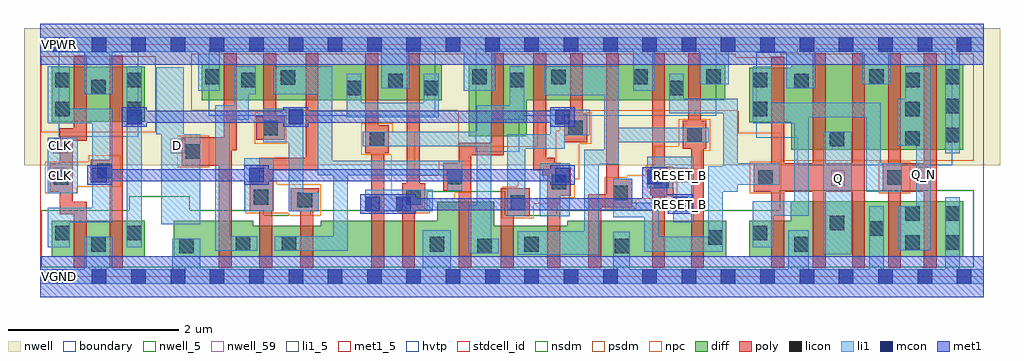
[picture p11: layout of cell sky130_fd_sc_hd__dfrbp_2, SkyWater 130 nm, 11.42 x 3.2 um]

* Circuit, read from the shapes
.subckt sky130_fd_sc_hd__dfrbp_2 CLK D Q Q_N RESET_B VGND VNB VPB VPWR
XM1 VGND CLK n1 VNB sky130_fd_pr__nfet_01v8 w=0.42 l=0.15
XM2 n2 n1 VGND VNB sky130_fd_pr__nfet_01v8 w=0.42 l=0.15
XM3 n3 D VGND VNB sky130_fd_pr__nfet_01v8 w=0.42 l=0.15
XM4 n4 n1 n3 VNB sky130_fd_pr__nfet_01v8 w=0.36 l=0.15
XM5 n5 n2 n4 VNB sky130_fd_pr__nfet_01v8 w=0.36 l=0.15
XM6 n6 n7 n5 VNB sky130_fd_pr__nfet_01v8 w=0.42 l=0.15
XM7 VGND RESET_B n6 VNB sky130_fd_pr__nfet_01v8 w=0.42 l=0.15
XM8 n7 n4 VGND VNB sky130_fd_pr__nfet_01v8 w=0.64 l=0.15
XM9 n8 n2 n7 VNB sky130_fd_pr__nfet_01v8 w=0.36 l=0.15
XM10 n9 n1 n8 VNB sky130_fd_pr__nfet_01v8 w=0.36 l=0.15
XM11 VGND n10 n9 VNB sky130_fd_pr__nfet_01v8 w=0.42 l=0.15
XM12 n11 RESET_B VGND VNB sky130_fd_pr__nfet_01v8 w=0.42 l=0.15
XM13 n10 n8 n11 VNB sky130_fd_pr__nfet_01v8 w=0.42 l=0.15
XM14 VGND n10 n12 VNB sky130_fd_pr__nfet_01v8 w=0.42 l=0.15
XM15 Q n10 VGND VNB sky130_fd_pr__nfet_01v8 w=0.65 l=0.15 m=2
XM16 Q_N n12 VGND VNB sky130_fd_pr__nfet_01v8 w=0.65 l=0.15 m=2
XM17 VPWR CLK n1 VPB sky130_fd_pr__pfet_01v8_hvt w=0.64 l=0.15
XM18 n2 n1 VPWR VPB sky130_fd_pr__pfet_01v8_hvt w=0.64 l=0.15
XM19 n3 D VPWR VPB sky130_fd_pr__pfet_01v8_hvt w=0.42 l=0.15
XM20 n4 n2 n3 VPB sky130_fd_pr__pfet_01v8_hvt w=0.42 l=0.15
XM21 n13 n1 n4 VPB sky130_fd_pr__pfet_01v8_hvt w=0.42 l=0.15
XM22 VPWR n7 n13 VPB sky130_fd_pr__pfet_01v8_hvt w=0.42 l=0.15
XM23 n13 RESET_B VPWR VPB sky130_fd_pr__pfet_01v8_hvt w=0.42 l=0.15
XM24 n7 n4 VPWR VPB sky130_fd_pr__pfet_01v8_hvt w=0.84 l=0.15
XM25 n8 n1 n7 VPB sky130_fd_pr__pfet_01v8_hvt w=0.42 l=0.15
XM26 n14 n2 n8 VPB sky130_fd_pr__pfet_01v8_hvt w=0.42 l=0.15
XM27 VPWR n10 n14 VPB sky130_fd_pr__pfet_01v8_hvt w=0.42 l=0.15
XM28 n10 RESET_B VPWR VPB sky130_fd_pr__pfet_01v8_hvt w=0.42 l=0.15
XM29 VPWR n8 n10 VPB sky130_fd_pr__pfet_01v8_hvt w=0.42 l=0.15
XM30 VPWR n10 n12 VPB sky130_fd_pr__pfet_01v8_hvt w=0.64 l=0.15
XM31 Q n10 VPWR VPB sky130_fd_pr__pfet_01v8_hvt w=1 l=0.15 m=2
XM32 Q_N n12 VPWR VPB sky130_fd_pr__pfet_01v8_hvt w=1 l=0.15 m=2
.ends

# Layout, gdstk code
import gdstk
lib = gdstk.Library(unit=1e-6, precision=1e-09)
def R(c, l, rs):  # rectangles x0, y0, x1, y1
    for r in rs: c.add(gdstk.rectangle(r[:2], r[2:], *l))
def A(c, l, x, y, w, h, nx, ny, dx, dy):  # array of equal rectangles
    R(c, l, [(x+i*dx, y+j*dy, x+i*dx+w, y+j*dy+h) for i in range(nx) for j in range(ny)])
nwell_5 = (64, 5)
nwell = (64, 20)
nwell_59 = (64, 59)
diff = (65, 20)
poly = (66, 20)
licon = (66, 44)
li1_5 = (67, 5)
li1 = (67, 20)
mcon = (67, 44)
met1_5 = (68, 5)
met1 = (68, 20)
hvtp = (78, 44)
stdcell_id = (81, 4)
nsdm = (93, 44)
psdm = (94, 20)
npc = (95, 20)
boundary = (235, 4)

sky130_fd_sc_hd__dfrbp_2 = lib.new_cell('sky130_fd_sc_hd__dfrbp_2')
R(sky130_fd_sc_hd__dfrbp_2, nwell_5, [(0.145,2.635,0.315,2.805)])
R(sky130_fd_sc_hd__dfrbp_2, nwell, [(-0.19,1.305,11.23,2.91)])
R(sky130_fd_sc_hd__dfrbp_2, nwell_59, [(0.145,-0.085,0.315,0.085)])
R(sky130_fd_sc_hd__dfrbp_2, diff, [(0.135,0.235,1.225,0.655), (1.565,0.235,8.025,0.595), (8.295,0.235,10.8,0.655), (1.565,0.595,2.49,0.655), (3.285,0.595,5.315,0.655), (6.165,0.595,8.025,0.655), (4.645,0.655,5.315,0.875), (8.78,0.655,10.8,0.885), (8.79,1.485,10.8,1.805), (5.015,1.645,5.695,2.065), (8.295,1.805,10.8,2.445), (0.135,1.815,1.225,2.455), (1.89,2.065,4.7,2.485), (5.015,2.065,8.015,2.485), (8.79,2.445,10.8,2.485)])
A(sky130_fd_sc_hd__dfrbp_2, poly, 9.5, 0.105, 0.15, 0.89, 3, 1, 0.42, 0)
A(sky130_fd_sc_hd__dfrbp_2, poly, 9.5, 1.325, 0.15, 1.29, 3, 1, 0.42, 0)
R(sky130_fd_sc_hd__dfrbp_2, poly, [(0.395,0.105,0.545,0.73), (0.815,0.105,0.965,1.1), (2.09,0.105,2.24,1.3), (2.565,0.105,2.715,0.765), (3.045,0.105,3.195,0.765), (3.875,0.105,4.025,1.445), (4.235,0.105,4.385,0.765), (4.895,0.105,5.045,1.005), (5.39,0.105,5.54,0.705), (5.935,0.105,6.085,0.945), (6.415,0.105,6.565,0.815), (7.16,0.105,7.31,0.955), (7.615,0.105,7.765,1.495), (8.555,0.105,8.705,0.995), (9.04,0.105,9.19,0.995), (5.39,0.705,5.725,1.035), (0.23,0.73,0.545,0.88), (2.45,0.765,2.72,1.095), (2.93,0.765,3.26,1.035), (4.235,0.765,4.505,1.095), (6.415,0.815,6.925,0.965), (0.23,0.88,0.38,0.995), (5.935,0.945,6.205,1.185), (7.135,0.955,7.405,1.285), (6.62,0.965,6.925,1.145), (0.11,0.995,0.38,1.325), (8.35,0.995,9.65,1.325), (9.86,0.995,10.49,1.325), (4.715,1.005,5.045,1.335), (2.565,1.095,2.72,1.245), (4.29,1.095,4.44,2.615), (0.59,1.1,0.965,1.37), (6.62,1.145,6.77,2.615), (5.875,1.185,6.205,1.245), (2.565,1.245,3.255,1.395), (5.77,1.245,6.205,1.275), (5.77,1.275,6.085,1.335), (7.16,1.285,7.31,2.615), (1.655,1.3,2.24,1.48), (0.23,1.325,0.38,1.59), (8.555,1.325,8.705,2.575), (9.04,1.325,9.19,2.615), (4.895,1.335,5.045,1.42), (5.77,1.335,6.02,1.395), (0.815,1.37,0.965,2.585), (3.105,1.395,3.255,2.615), (5.77,1.395,5.92,2.615), (4.895,1.42,5.425,1.57), (3.805,1.445,4.08,1.775), (1.655,1.48,2.3,1.63), (7.52,1.495,7.79,1.825), (5.275,1.57,5.425,2.615), (6.13,1.575,6.4,1.905), (0.23,1.59,0.545,1.74), (2.53,1.605,2.86,1.875), (2.15,1.63,2.3,2.615), (0.395,1.74,0.545,2.585), (3.805,1.775,3.955,2.615), (7.58,1.825,7.73,2.615), (2.61,1.875,2.76,2.615), (6.2,1.905,6.35,2.615)])
A(sky130_fd_sc_hd__dfrbp_2, licon, 10.12, 1.535, 0.17, 0.17, 1, 3, 0, 0.34)
A(sky130_fd_sc_hd__dfrbp_2, licon, 10.59, 1.575, 0.17, 0.17, 1, 3, 0, 0.34)
R(sky130_fd_sc_hd__dfrbp_2, licon, [(1.625,0.275,1.795,0.445), (5.115,0.275,5.285,0.445), (6.725,0.275,6.895,0.445), (0.595,0.295,0.765,0.465), (4.555,0.295,4.725,0.465), (5.665,0.295,5.835,0.465), (8.82,0.295,8.99,0.465), (2.29,0.305,2.46,0.475), (2.825,0.305,2.995,0.475), (10.12,0.315,10.29,0.485), (10.59,0.315,10.76,0.485), (7.815,0.375,7.985,0.545), (0.175,0.425,0.345,0.595), (1.015,0.425,1.185,0.595), (8.335,0.425,8.505,0.595), (9.7,0.48,9.87,0.65), (9.24,0.545,9.41,0.715), (10.12,0.655,10.29,0.825), (10.59,0.655,10.76,0.825), (5.505,0.785,5.675,0.955), (3.01,0.815,3.18,0.985), (2.5,0.845,2.67,1.015), (4.285,0.845,4.455,1.015), (6.705,0.895,6.875,1.065), (5.985,1.025,6.155,1.195), (7.185,1.035,7.355,1.205), (0.16,1.075,0.33,1.245), (8.4,1.075,8.57,1.245), (9.91,1.075,10.08,1.245), (4.765,1.085,4.935,1.255), (0.67,1.15,0.84,1.32), (1.705,1.38,1.875,1.55), (3.855,1.525,4.025,1.695), (9.24,1.525,9.41,1.695), (7.57,1.575,7.74,1.745), (2.61,1.655,2.78,1.825), (6.18,1.655,6.35,1.825), (0.175,1.875,0.345,2.045), (1.015,1.875,1.185,2.045), (8.335,1.875,8.505,2.045), (3.585,2.125,3.755,2.295), (4.49,2.125,4.66,2.295), (7.36,2.125,7.53,2.295), (0.595,2.135,0.765,2.305), (4.07,2.205,4.24,2.375), (8.82,2.205,8.99,2.375), (0.175,2.215,0.345,2.385), (1.015,2.215,1.185,2.385), (2.35,2.215,2.52,2.385), (5.495,2.215,5.665,2.385), (8.335,2.215,8.505,2.385), (2.815,2.245,2.985,2.415), (5.98,2.25,6.15,2.42), (1.93,2.255,2.1,2.425), (5.055,2.255,5.225,2.425), (6.94,2.255,7.11,2.425), (7.79,2.255,7.96,2.425), (9.7,2.255,9.87,2.425)])
R(sky130_fd_sc_hd__dfrbp_2, li1_5, [(7.405,0.765,7.575,0.935), (9.255,1.065,9.415,1.245), (0.15,1.105,0.32,1.275), (7.405,1.105,7.575,1.275), (10.275,1.11,10.39,1.285), (0.15,1.445,0.32,1.615), (1.525,1.445,1.695,1.615)])
R(sky130_fd_sc_hd__dfrbp_2, li1, [(0,-0.085,11.04,0.085), (0.515,0.085,0.845,0.465), (1.545,0.085,1.875,0.445), (4.475,0.085,4.805,0.545), (6.705,0.085,6.895,0.525), (8.755,0.085,8.99,0.545), (9.7,0.085,9.87,0.825), (10.59,0.085,10.76,0.93), (5.585,0.255,6.535,0.535), (9.16,0.265,9.495,1.695), (5.015,0.275,5.365,0.445), (7.065,0.295,7.985,0.465), (2.045,0.305,2.54,0.475), (2.745,0.305,3.6,0.475), (10.04,0.31,10.42,0.825), (0.09,0.345,0.345,0.635), (1.015,0.345,1.185,2.465), (8.335,0.345,8.585,0.715), (5.015,0.445,5.275,0.835), (7.065,0.465,7.235,0.695), (7.815,0.465,7.985,0.995), (2.045,0.475,2.215,1.835), (3.43,0.475,3.6,1.185), (6.365,0.535,6.535,1.315), (1.415,0.615,1.875,1.665), (0.09,0.635,0.84,0.805), (7.405,0.635,7.645,1.035), (6.705,0.695,7.235,0.865), (5.465,0.705,5.675,1.495), (5.845,0.705,6.195,1.325), (8.335,0.715,8.99,0.885), (2.385,0.765,2.735,1.385), (2.905,0.765,3.26,0.985), (3.805,0.765,4.595,1.015), (0.61,0.805,0.84,1.795), (10.25,0.825,10.42,1.535), (5.105,0.835,5.275,1.525), (6.705,0.865,6.925,1.145), (8.82,0.885,8.99,1.795), (0.09,0.975,0.44,1.625), (2.905,0.985,3.075,1.575), (7.815,0.995,8.16,1.075), (9.665,0.995,10.08,1.325), (4.765,1.005,4.935,1.185), (7.105,1.035,7.645,1.405), (7.815,1.075,8.65,1.295), (3.245,1.185,4.935,1.355), (7.99,1.295,8.65,1.325), (6.365,1.315,6.77,1.485), (7.99,1.325,8.16,1.915), (9.665,1.325,9.835,1.865), (3.245,1.355,3.415,2.135), (10.59,1.445,10.76,2.635), (6.6,1.485,6.77,1.575), (5.465,1.495,6.14,1.655), (3.775,1.525,5.275,1.695), (10.03,1.535,10.42,2.08), (2.61,1.575,3.075,1.965), (6.6,1.575,7.82,1.745), (5.465,1.655,6.43,1.665), (1.355,1.665,1.68,2.45), (5.97,1.665,6.43,1.955), (5.105,1.695,5.275,1.835), (6.6,1.745,6.77,2.125), (0.09,1.795,0.84,1.965), (8.335,1.795,8.99,1.865), (2.045,1.835,2.44,2.005), (5.105,1.835,5.665,2.005), (3.585,1.865,4.66,2.035), (8.335,1.865,9.835,2.035), (7.36,1.915,8.16,2.085), (0.09,1.965,0.345,2.465), (2.27,2.005,2.44,2.135), (5.495,2.005,5.665,2.465), (3.585,2.035,3.755,2.375), (4.49,2.035,4.66,2.375), (8.335,2.035,8.56,2.465), (10.12,2.08,10.42,2.465), (7.36,2.085,7.53,2.375), (5.9,2.125,6.77,2.465), (0.515,2.135,0.845,2.635), (2.27,2.135,2.52,2.465), (2.735,2.135,3.415,2.465), (1.85,2.175,2.1,2.635), (4.955,2.175,5.325,2.635), (6.94,2.175,7.19,2.635), (3.99,2.205,4.32,2.635), (8.73,2.205,9.07,2.635), (7.71,2.255,8.055,2.635), (9.62,2.255,9.95,2.635), (0,2.635,11.04,2.805)])
A(sky130_fd_sc_hd__dfrbp_2, mcon, 0.145, -0.085, 0.17, 0.17, 24, 2, 0.46, 2.72)
R(sky130_fd_sc_hd__dfrbp_2, mcon, [(3.805,0.765,3.975,0.935), (4.165,0.765,4.335,0.935), (7.405,0.765,7.575,0.935), (7.105,1.08,7.275,1.25), (0.61,1.105,0.78,1.275), (2.445,1.105,2.615,1.275), (6.025,1.105,6.195,1.275), (1.015,1.785,1.185,1.955), (2.905,1.785,3.075,1.955), (6.025,1.785,6.195,1.955)])
R(sky130_fd_sc_hd__dfrbp_2, met1_5, [(0.145,-0.085,0.315,0.085), (0.145,2.635,0.315,2.805)])
R(sky130_fd_sc_hd__dfrbp_2, met1, [(0,-0.24,11.04,0.24), (3.745,0.735,4.395,0.78), (7.345,0.735,7.635,0.78), (3.745,0.78,7.635,0.92), (3.745,0.92,4.395,0.965), (7.045,0.92,7.635,0.965), (7.045,0.965,7.335,1.28), (0.55,1.075,0.84,1.12), (2.385,1.075,2.675,1.12), (5.965,1.075,6.255,1.12), (0.55,1.12,6.255,1.26), (0.55,1.26,0.84,1.305), (2.385,1.26,2.675,1.305), (5.965,1.26,6.255,1.305), (0.955,1.755,1.245,1.8), (2.845,1.755,3.135,1.8), (5.965,1.755,6.255,1.8), (0.955,1.8,6.255,1.94), (0.955,1.94,1.245,1.985), (2.845,1.94,3.135,1.985), (5.965,1.94,6.255,1.985), (0,2.48,11.04,2.96)])
R(sky130_fd_sc_hd__dfrbp_2, hvtp, [(8.86,1.305,10.67,1.625), (5.095,1.465,5.605,1.885), (8.375,1.625,10.67,2.625), (0.215,1.635,1.145,2.635), (1.97,1.885,4.62,2.665), (5.095,1.885,7.91,2.665), (8.86,2.625,10.67,2.665)])
R(sky130_fd_sc_hd__dfrbp_2, stdcell_id, [(0,0,11.04,2.72)])
R(sky130_fd_sc_hd__dfrbp_2, nsdm, [(0.01,0.11,10.925,0.72), (0.01,0.72,2.615,0.78), (3.16,0.72,5.44,0.78), (6.04,0.72,10.925,0.78), (1.04,0.78,1.75,0.94), (4.52,0.78,5.44,1), (8.655,0.78,10.925,1.01)])
R(sky130_fd_sc_hd__dfrbp_2, psdm, [(8.665,1.36,10.925,1.68), (4.89,1.52,5.82,1.94), (8.17,1.68,10.925,1.94), (0.01,1.69,1.35,2.58), (1.765,1.94,10.925,2.57), (1.765,2.57,8.14,2.61), (8.665,2.57,10.925,2.61)])
R(sky130_fd_sc_hd__dfrbp_2, npc, [(5.405,0.685,5.775,0.855), (2.91,0.715,3.28,0.745), (2.4,0.745,3.28,1.085), (4.185,0.745,4.555,0.915), (6.605,0.795,6.975,0.915), (5.405,0.855,6.07,0.925), (4.11,0.915,4.85,0.985), (6.605,0.915,7.19,0.935), (5.405,0.925,6.255,1.055), (6.605,0.935,7.455,1.165), (0.06,0.975,0.43,1.05), (8.3,0.975,8.67,1.345), (9.81,0.975,10.18,1.345), (4.11,0.985,5.035,1.185), (0.06,1.05,0.94,1.345), (5.59,1.055,6.255,1.125), (2.4,1.085,2.77,1.115), (5.885,1.125,6.255,1.14), (5.885,1.14,6.305,1.295), (6.87,1.165,7.455,1.185), (4.11,1.185,4.385,1.425), (4.665,1.185,5.035,1.355), (7.085,1.185,7.455,1.255), (7.085,1.255,7.74,1.305), (1.605,1.28,1.975,1.65), (6.03,1.295,6.305,1.555), (7.185,1.305,7.74,1.475), (0.57,1.345,0.94,1.42), (3.755,1.425,4.385,1.695), (7.185,1.475,7.84,1.525), (7.47,1.525,7.84,1.845), (2.51,1.555,2.88,1.925), (6.03,1.555,6.45,1.71), (3.755,1.695,4.125,1.795), (6.08,1.71,6.45,1.925)])
R(sky130_fd_sc_hd__dfrbp_2, boundary, [(0,0,11.04,2.72)])
sky130_fd_sc_hd__dfrbp_2.add(gdstk.Label('Q', (9.335,1.155), layer=67, texttype=5))
sky130_fd_sc_hd__dfrbp_2.add(gdstk.Label('Q_N', (10.332,1.197), layer=67, texttype=5))
sky130_fd_sc_hd__dfrbp_2.add(gdstk.Label('RESET_B', (7.49,0.85), layer=67, texttype=5))
sky130_fd_sc_hd__dfrbp_2.add(gdstk.Label('D', (1.61,1.53), layer=67, texttype=5))
sky130_fd_sc_hd__dfrbp_2.add(gdstk.Label('CLK', (0.235,1.53), layer=67, texttype=5))
sky130_fd_sc_hd__dfrbp_2.add(gdstk.Label('CLK', (0.235,1.19), layer=67, texttype=5))
sky130_fd_sc_hd__dfrbp_2.add(gdstk.Label('RESET_B', (7.49,1.19), layer=67, texttype=5))
sky130_fd_sc_hd__dfrbp_2.add(gdstk.Label('VGND', (0.23,0), layer=68, texttype=5))
sky130_fd_sc_hd__dfrbp_2.add(gdstk.Label('VPWR', (0.23,2.72), layer=68, texttype=5))
sky130_fd_sc_hd__dfrbp_2.add(gdstk.Label('VPB', (0.23,2.72), layer=64, texttype=5))
sky130_fd_sc_hd__dfrbp_2.add(gdstk.Label('VNB', (0.23,0), layer=64, texttype=59))

lib.write_gds('sky130_fd_sc_hd__dfrbp_2.gds')
